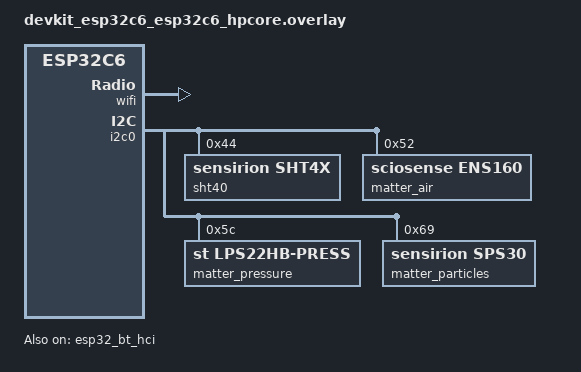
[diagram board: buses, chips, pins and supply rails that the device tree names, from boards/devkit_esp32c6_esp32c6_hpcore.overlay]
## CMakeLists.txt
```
# SPDX-License-Identifier: Apache-2.0
cmake_minimum_required(VERSION 3.20.0)

if(NOT CHIP_ROOT)
  message(FATAL_ERROR "Set CHIP_ROOT to the connectedhomeip checkout described in README.md")
endif()
list(APPEND EXTRA_ZEPHYR_MODULES "${CHIP_ROOT}/config/zephyr/chip-module")
# The generic Zephyr GN entry does not infer the C6 RISC-V architecture.
set(MATTER_GN_ARGS "--arg-string\ntarget_cpu\nriscv\n")
# Select the implementations required by this application's data model.
if(NOT DEFINED CHIP_GN_ZAP_FILE)
  set(CHIP_GN_ZAP_FILE "${CMAKE_CURRENT_SOURCE_DIR}/environment.zap")
endif()
# Bound the nested build on development hosts; users can override this cache entry.
set(MATTER_GN_BUILD_JOBS 4 CACHE STRING "Maximum concurrent Matter Ninja jobs")
# Local cold/configuration measurements favored direct GN compiler invocation.
# Keep the outer Zephyr launcher unchanged and allow hosts to opt back in.
set(MATTER_GN_USE_COMPILER_LAUNCHERS OFF CACHE BOOL "Use Zephyr compiler launchers in Matter GN")
find_package(Zephyr REQUIRED HINTS $ENV{ZEPHYR_BASE})
project(matter_temperature LANGUAGES C CXX)

target_sources(app PRIVATE
  src/main.cpp
  src/environment.cpp
  src/air_quality.c
  ${CHIP_ROOT}/examples/providers/DeviceInfoProviderImpl.cpp
)
target_include_directories(app PRIVATE ${CHIP_ROOT}/examples/providers)
target_link_libraries(app PRIVATE chip)
set(ENV{CHIP_ROOT} "${CHIP_ROOT}")
include(${CHIP_ROOT}/src/app/chip_data_model.cmake)
chip_configure_data_model(app
  ZAP_FILE "${CMAKE_CURRENT_SOURCE_DIR}/environment.zap"
)
```

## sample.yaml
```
sample:
  name: Experimental Matter environment sensor
  description: SHT40, ENS160, SPS30 and LPS22HB Matter-over-Wi-Fi prototype
common:
  tags:
    - sensor
    - matter
  platform_allow:
    - devkit_esp32c6/esp32c6/hpcore
  build_only: true
tests:
  sample.sensor.matter_temperature:
    # The Matter fork and pinned host ZAP/GN tools must be prepared first.
    # Build explicitly with build.sh; this is not part of the default matrix.
    skip: true
```

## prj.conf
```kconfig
CONFIG_CHIP=y
CONFIG_CHIP_WIFI=y
CONFIG_CHIP_ENABLE_PAIRING_AUTOSTART=y
CONFIG_CPP=y
CONFIG_STD_CPP17=y
CONFIG_REQUIRES_FULL_LIBCPP=y
CONFIG_PICOLIBC=y
CONFIG_NETWORKING=y
CONFIG_WIFI=y
CONFIG_NET_IPV6=y
CONFIG_NET_IPV4=y
CONFIG_NET_DHCPV4=y
CONFIG_BT=y
CONFIG_BT_PERIPHERAL=y
CONFIG_BT_DEVICE_NAME="FoBE Matter Temp"
CONFIG_PSA_CRYPTO=y
CONFIG_MBEDTLS=y
CONFIG_CHIP_CRYPTO_PSA=y
CONFIG_CHIP_CRYPTO_SPAKE2P_MBEDTLS=y
CONFIG_FLASH=y
CONFIG_FLASH_MAP=y
CONFIG_NVS=y
CONFIG_SETTINGS=y
CONFIG_SETTINGS_NVS=y
CONFIG_LOG=y
CONFIG_MAIN_STACK_SIZE=8192
CONFIG_HEAP_MEM_POOL_SIZE=65536
CONFIG_SENSOR=y
CONFIG_I2C=y
CONFIG_CHIP_EXAMPLE_DEVICE_INFO_PROVIDER=n
CONFIG_NET_STATISTICS=y
CONFIG_NET_STATISTICS_USER_API=y
CONFIG_CHIP_DEVICE_VENDOR_ID=65521
CONFIG_CHIP_DEVICE_PRODUCT_ID=32768
CONFIG_CHIP_DEVICE_PRODUCT_NAME="FoBE Matter Temperature"
CONFIG_CHIP_DEVICE_TYPE=770
CONFIG_CHIP_DEVICE_DISCRIMINATOR=0xF00
CONFIG_CHIP_DEVICE_SPAKE2_PASSCODE=20202021
CONFIG_CHIP_CRYPTO_PSA_AEAD_SINGLE_PART=y
CONFIG_NET_IPV6_MLD=y
CONFIG_NET_IF_MCAST_IPV6_ADDR_COUNT=12
CONFIG_NET_BUF_RX_COUNT=32
CONFIG_NET_BUF_TX_COUNT=32
CONFIG_NET_PKT_RX_COUNT=16
CONFIG_NET_PKT_TX_COUNT=16
CONFIG_BT_L2CAP_TX_MTU=247
CONFIG_BT_BUF_ACL_RX_SIZE=251
CONFIG_BT_BUF_ACL_TX_SIZE=251
CONFIG_BT_MAX_CONN=1
CONFIG_SYSTEM_WORKQUEUE_STACK_SIZE=4096
CONFIG_CHIP_TASK_STACK_SIZE=8192
CONFIG_CHIP_TASK_PRIORITY=5
CONFIG_MATTER_LOG_LEVEL=3
CONFIG_CHIP_ENABLE_WIFI_STATION=y
CONFIG_CHIP_DEVICE_VENDOR_NAME="FoBE"
# Matter's entropy initialization guard recognizes this hardware-backed path.
CONFIG_MBEDTLS_PSA_CRYPTO_LEGACY_RNG=y
CONFIG_MBEDTLS_PSA_DRIVER_GET_ENTROPY=y
CONFIG_PSA_WANT_KEY_TYPE_DERIVE=y
CONFIG_PSA_WANT_KEY_TYPE_HMAC=y
CONFIG_PSA_WANT_ALG_PBKDF2_HMAC=y
CONFIG_PSA_WANT_ALG_SHA_1=y
CONFIG_MBEDTLS_X509_CRT_PARSE_C=y
CONFIG_MBEDTLS_X509_CSR_WRITE_C=y
CONFIG_MBEDTLS_PK_WRITE_C=y
# Required by the generic Matter BLE and thread diagnostics adapters.
CONFIG_BT_GATT_DYNAMIC_DB=y
CONFIG_BT_DEVICE_NAME_DYNAMIC=y
CONFIG_THREAD_STACK_INFO=y
CONFIG_INIT_STACKS=y
# IPv4/IPv6 operational sockets, mDNS sockets and the Matter wake event.
CONFIG_ZVFS_POLL_MAX=16
CONFIG_NET_MAX_CONTEXTS=10
# Test DAC import and persistent operational key serialization/restoration.
CONFIG_PSA_WANT_KEY_TYPE_ECC_KEY_PAIR_IMPORT=y
CONFIG_PSA_WANT_KEY_TYPE_ECC_KEY_PAIR_EXPORT=y

# Matter commissioning messages need more than the default logging stack.
CONFIG_LOG_PROCESS_THREAD_STACK_SIZE=4096
# Matter GATT callbacks need additional receive-thread stack on ESP32-C6.
CONFIG_BT_RX_STACK_SIZE=4096
CONFIG_STACK_SENTINEL=y

# Retry transient AP association failures after restoring a paired device.
CONFIG_ESP32_WIFI_STA_RECONNECT=y

# The local adapter preserves ENS160 conditioning states.
CONFIG_ENS160=n
```

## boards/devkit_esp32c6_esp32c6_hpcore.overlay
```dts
&esp32_bt_hci { status = "okay"; };
&wifi { status = "okay"; };
&i2c0 {
    sht40: sht40@44 {
        compatible = "sensirion,sht4x";
        reg = <0x44>;
        repeatability = <2>;
    };
};

&i2c0 {
    matter_air: ens160@52 { compatible = "sciosense,ens160"; reg = <0x52>; };
    matter_pressure: lps22hb@5c { compatible = "st,lps22hb-press"; reg = <0x5c>; };
    matter_particles: sps30@69 { compatible = "sensirion,sps30"; reg = <0x69>; };
};
```

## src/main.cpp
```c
/* SPDX-License-Identifier: Apache-2.0 */

#include <cstdio>
#include "environment.h"

#include <zephyr/drivers/gpio.h>
#include <zephyr/kernel.h>
#include <zephyr/logging/log.h>

#include <DeviceInfoProviderImpl.h>
#include <app/clusters/network-commissioning/network-commissioning.h>
#include <app/server/CommissioningWindowManager.h>
#include <app/server/Server.h>
#include <credentials/DeviceAttestationCredsProvider.h>
#include <credentials/examples/DeviceAttestationCredsExample.h>
#include <data-model-providers/codegen/Instance.h>
#include <lib/support/CHIPMem.h>
#include <platform/CHIPDeviceLayer.h>
#include <platform/Zephyr/wifi/ZephyrWifiDriver.h>
#include <setup_payload/OnboardingCodesUtil.h>

LOG_MODULE_REGISTER(matter_temperature, LOG_LEVEL_INF);

namespace {
/* User-wired devkit_esp32c6 GP9 button, active low. */
const gpio_dt_spec pairing_button{DEVICE_DT_GET(DT_NODELABEL(gpio0)), 9,
	GPIO_ACTIVE_LOW | GPIO_PULL_UP};
K_SEM_DEFINE(server_ready, 0, 1);
CHIP_ERROR server_result = CHIP_ERROR_INCORRECT_STATE;
chip::CommonCaseDeviceServerInitParams server_params;
chip::app::Clusters::NetworkCommissioning::Instance network_commissioning(
	0, &chip::DeviceLayer::NetworkCommissioning::ZephyrWifiDriver::Instance());

void open_pairing_window(intptr_t)
{
	auto &window = chip::Server::GetInstance().GetCommissioningWindowManager();
	if (window.IsCommissioningWindowOpen()) {
		LOG_INF("Pairing window is already open");
		return;
	}
	CHIP_ERROR err = window.OpenBasicCommissioningWindow(chip::System::Clock::Seconds32(900));
	if (err != CHIP_NO_ERROR) {
		LOG_ERR("Cannot open pairing window: %" CHIP_ERROR_FORMAT, err.Format());
	} else {
		LOG_INF("Pairing window open for 15 minutes; code 34970112332");
	}
}

void init_server(intptr_t)
{
	using namespace chip;

	std::printf("MATTER: initializing server\n");
	Credentials::SetDeviceAttestationCredentialsProvider(
		Credentials::Examples::GetExampleDACProvider());
	server_result = server_params.InitializeStaticResourcesBeforeServerInit();
	if (server_result == CHIP_NO_ERROR) {
		auto &device_info = DeviceLayer::DeviceInfoProviderImpl::GetDefaultInstance();

		device_info.SetStorageDelegate(server_params.persistentStorageDelegate);
		DeviceLayer::SetDeviceInfoProvider(&device_info);
		server_params.dataModelProvider =
			app::CodegenDataModelProviderInstance(server_params.persistentStorageDelegate);
		server_result = Server::GetInstance().Init(server_params);
		std::printf("MATTER: Server::Init=%" CHIP_ERROR_FORMAT "\n", server_result.Format());
	}
	if (server_result == CHIP_NO_ERROR) {
		server_result = network_commissioning.Init();
		std::printf("MATTER: network commissioning=%" CHIP_ERROR_FORMAT "\n", server_result.Format());
	}
	if (server_result == CHIP_NO_ERROR) {
		server_result = environment_init();
	}
	if (server_result == CHIP_NO_ERROR) {
		std::printf("MATTER: environment clusters ready\n");
		PrintOnboardingCodes(RendezvousInformationFlags(RendezvousInformationFlag::kBLE));
		LOG_INF("Matter server ready; fabrics=%u", Server::GetInstance().GetFabricTable().FabricCount());
	}
	std::printf("MATTER: signaling main\n");
	k_sem_give(&server_ready);
}
} // namespace

int main(void)
{
	using namespace chip;

	std::printf("MATTER: starting platform\n");
	CHIP_ERROR err = Platform::MemoryInit();
	if (err == CHIP_NO_ERROR) {
		err = DeviceLayer::PlatformMgr().InitChipStack();
	}
	if (err == CHIP_NO_ERROR) {
		err = DeviceLayer::PlatformMgr().ScheduleWork(init_server);
	}
	if (err == CHIP_NO_ERROR) {
		err = DeviceLayer::PlatformMgr().StartEventLoopTask();
	}
	if (err != CHIP_NO_ERROR) {
		LOG_ERR("Matter startup failed: %" CHIP_ERROR_FORMAT, err.Format());
		return -EIO;
	}
	std::printf("MATTER: waiting for server\n");
	k_sem_take(&server_ready, K_FOREVER);
	std::printf("MATTER: server initialization returned\n");
	if (server_result != CHIP_NO_ERROR) {
		LOG_ERR("Matter server failed: %" CHIP_ERROR_FORMAT, server_result.Format());
		return -EIO;
	}

	bool button_ready = gpio_is_ready_dt(&pairing_button) &&
		gpio_pin_configure_dt(&pairing_button, GPIO_INPUT) == 0;
	if (!button_ready) {
		LOG_WRN("Pairing button unavailable");
	}
	int previous_button = 0;
	int64_t next_sample = 0;
	for (;;) {
		if (button_ready) {
			int pressed = gpio_pin_get_dt(&pairing_button);
			if (pressed == 1 && previous_button == 0) {
				k_msleep(30);
				if (gpio_pin_get_dt(&pairing_button) == 1) {
					err = DeviceLayer::PlatformMgr().ScheduleWork(open_pairing_window);
					if (err != CHIP_NO_ERROR) {
						LOG_ERR("Pairing request failed: %" CHIP_ERROR_FORMAT, err.Format());
					}
				}
			}
			if (pressed >= 0) {
				previous_button = pressed;
			}
		}
		if (k_uptime_get() >= next_sample) {
			environment_update();
			next_sample = k_uptime_get() + 5000;
		}
		k_sleep(K_MSEC(50));
	}
}
```

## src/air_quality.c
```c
/* Copyright (c) 2026 FoBE Studio
 * SPDX-License-Identifier: Apache-2.0
 */
#include "air_quality.h"
#include <zephyr/drivers/i2c.h>
#include <zephyr/kernel.h>
#include <zephyr/sys/byteorder.h>

/* Sample owns this device: CONFIG_ENS160 is disabled. Unlike the workspace
 * driver, preserve conditioning states instead of failing initialization.
 * Register contract: ScioSense ENS160 datasheet v1.3, sections 16.2.1-16.2.10.
 */
static const struct i2c_dt_spec bus = I2C_DT_SPEC_GET(DT_NODELABEL(matter_air));

int air_init(void)
{
	uint8_t id[2];
	int ret;

	if (!i2c_is_ready_dt(&bus)) {
		return -ENODEV;
	}
	ret = i2c_burst_read_dt(&bus, 0x00, id, sizeof(id));
	if (ret < 0) {
		return ret;
	}
	if (sys_get_le16(id) != 0x0160) {
		return -ENODEV;
	}
	ret = i2c_reg_write_byte_dt(&bus, 0x10, 0x01); /* Idle */
	if (ret < 0) {
		return ret;
	}
	k_msleep(10);
	ret = i2c_reg_write_byte_dt(&bus, 0x10, 0x02); /* Standard */
	k_msleep(10);
	return ret;
}

int air_compensate(const struct sensor_value *temperature, const struct sensor_value *humidity)
{
	int64_t temp = sensor_value_to_micro(temperature);
	int64_t rh = sensor_value_to_micro(humidity);
	uint8_t values[4];

	if (temp < -5000000 || temp > 60000000 || rh < 20000000 || rh > 80000000) {
		return -ERANGE;
	}
	sys_put_le16((temp + 273150000) * 64 / 1000000, values);
	sys_put_le16(rh * 512 / 1000000, values + 2);
	return i2c_burst_write_dt(&bus, 0x13, values, sizeof(values));
}

int air_read(struct air_reading *reading)
{
	uint8_t status;
	uint8_t values[5];
	int ret = i2c_reg_read_byte_dt(&bus, 0x20, &status);

	if (ret < 0) {
		return ret;
	}
	reading->validity = (status >> 2) & 3;
	if ((status & BIT(6)) || !(status & BIT(7))) {
		return -EIO;
	}
	if (reading->validity != 0) {
		return 0;
	}
	if (!(status & BIT(1))) {
		return -EAGAIN;
	}
	ret = i2c_burst_read_dt(&bus, 0x21, values, sizeof(values));
	if (ret < 0) {
		return ret;
	}
	reading->aqi = values[0] & 7;
	reading->tvoc = sys_get_le16(values + 1);
	reading->eco2 = sys_get_le16(values + 3);
	return reading->aqi >= 1 && reading->aqi <= 5 ? 0 : -EBADMSG;
}
```

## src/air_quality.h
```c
/* SPDX-License-Identifier: Apache-2.0 */
#ifndef MATTER_AIR_QUALITY_H_
#define MATTER_AIR_QUALITY_H_
#include <zephyr/drivers/sensor.h>

struct air_reading {
	uint16_t eco2;
	uint16_t tvoc;
	uint8_t aqi;
	uint8_t validity;
};

int air_init(void);
int air_compensate(const struct sensor_value *temperature, const struct sensor_value *humidity);
/* -EAGAIN means no new sample. Validity 1/2 means conditioning, 3 invalid. */
int air_read(struct air_reading *reading);
#endif
```

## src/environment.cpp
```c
/* Copyright (c) 2026 FoBE Studio
 * SPDX-License-Identifier: Apache-2.0
 */
#include "environment.h"
extern "C" {
#include "air_quality.h"
}
#include <cmath>
#include <cstdio>
#include <zephyr/kernel.h>
#include <zephyr/logging/log.h>
#include <app/clusters/air-quality-server/CodegenIntegration.h>
#include <app/clusters/concentration-measurement-server/CodegenIntegration.h>
#include <app/clusters/identify-server/CodegenIntegration.h>
#include <app/clusters/pressure-measurement-server/CodegenIntegration.h>
#include <app/clusters/relative-humidity-measurement-server/CodegenIntegration.h>
#include <app/clusters/temperature-measurement-server/CodegenIntegration.h>
#include <platform/CHIPDeviceLayer.h>

LOG_MODULE_REGISTER(environment, LOG_LEVEL_INF);

namespace {
using namespace chip;
using namespace chip::app;
using namespace chip::app::Clusters;
using DataModel::Nullable;
using Concentration = ConcentrationMeasurement::Instance<true, false, false, false, false, false>;
using Unit = ConcentrationMeasurement::MeasurementUnitEnum;
constexpr auto kAir = ConcentrationMeasurement::MeasurementMediumEnum::kAir;
constexpr EndpointId kTemperature = 1, kHumidity = 2, kAirQuality = 3, kPressure = 4;
const device *const sht40 = DEVICE_DT_GET(DT_NODELABEL(sht40));
const device *const pressure = DEVICE_DT_GET(DT_NODELABEL(matter_pressure));
const device *const particles = DEVICE_DT_GET(DT_NODELABEL(matter_particles));

/* This prototype has no physical identification indicator. */
::Identify identify_temperature(kTemperature, nullptr, nullptr, chip::app::Clusters::Identify::IdentifyTypeEnum::kNone);
::Identify identify_humidity(kHumidity, nullptr, nullptr, chip::app::Clusters::Identify::IdentifyTypeEnum::kNone);
::Identify identify_air(kAirQuality, nullptr, nullptr, chip::app::Clusters::Identify::IdentifyTypeEnum::kNone);
::Identify identify_pressure(kPressure, nullptr, nullptr, chip::app::Clusters::Identify::IdentifyTypeEnum::kNone);
AirQuality::Instance air_quality(kAirQuality, BitMask<AirQuality::Feature>(
	AirQuality::Feature::kFair, AirQuality::Feature::kModerate, AirQuality::Feature::kVeryPoor));
Concentration eco2(kAirQuality, CarbonDioxideConcentrationMeasurement::Id, kAir, Unit::kPpm);
Concentration tvoc(kAirQuality, TotalVolatileOrganicCompoundsConcentrationMeasurement::Id, kAir, Unit::kPpb);
Concentration pm1(kAirQuality, Pm1ConcentrationMeasurement::Id, kAir, Unit::kUgm3);
Concentration pm25(kAirQuality, Pm25ConcentrationMeasurement::Id, kAir, Unit::kUgm3);
Concentration pm10(kAirQuality, Pm10ConcentrationMeasurement::Id, kAir, Unit::kUgm3);
Concentration *const concentrations[] = {&eco2, &tvoc, &pm1, &pm25, &pm10};
constexpr sensor_channel pm_channels[] = {SENSOR_CHAN_PM_1_0, SENSOR_CHAN_PM_2_5, SENSOR_CHAN_PM_10};

int fetch(const device *dev)
{
	return device_is_ready(dev) ? sensor_sample_fetch(dev) : -ENODEV;
}

template <typename T>
Nullable<T> scaled(const device *dev, sensor_channel channel, int64_t divisor,
		   int64_t minimum, int64_t maximum)
{
	Nullable<T> result;
	sensor_value value;
	if (sensor_channel_get(dev, channel, &value) == 0) {
		int64_t micro = sensor_value_to_micro(&value);
		if (micro >= minimum * divisor && micro <= maximum * divisor) {
			result.SetNonNull(static_cast<T>(micro / divisor));
		}
	}
	return result;
}

void check(CHIP_ERROR err)
{
	if (err != CHIP_NO_ERROR) {
		LOG_ERR("Matter measurement update failed: %" CHIP_ERROR_FORMAT, err.Format());
	}
}
} // namespace

CHIP_ERROR environment_init()
{
	CHIP_ERROR err = TemperatureMeasurement::SetMeasuredValueRange(kTemperature,
		Nullable<int16_t>(-4000), Nullable<int16_t>(12500));
	if (err != CHIP_NO_ERROR) {
		return err;
	}
	err = air_quality.Init();
	if (err != CHIP_NO_ERROR) {
		return err;
	}
	for (auto *cluster : concentrations) {
		err = cluster->Init();
		if (err != CHIP_NO_ERROR) {
			return err;
		}
	}
	return CHIP_NO_ERROR;
}

void environment_update()
{
	Nullable<int16_t> temperature_value, pressure_value;
	Nullable<uint16_t> humidity_value;
	Nullable<float> values[5];
	AirQuality::AirQualityEnum quality = AirQuality::AirQualityEnum::kUnknown;
	static bool air_initialized;
	static air_reading last_air{};
	static int64_t last_air_time = -1;
	int sht_rc = fetch(sht40);
	int pressure_rc = fetch(pressure);
	int pm_rc = fetch(particles);

	if (sht_rc == 0) {
		temperature_value = scaled<int16_t>(sht40, SENSOR_CHAN_AMBIENT_TEMP, 10000, -4000, 12500);
		humidity_value = scaled<uint16_t>(sht40, SENSOR_CHAN_HUMIDITY, 10000, 0, 10000);
	}
	if (pressure_rc == 0) {
		/* Zephyr kPa -> Matter 0.1 kPa (hPa). */
		pressure_value = scaled<int16_t>(pressure, SENSOR_CHAN_PRESS, 100000, 260, 1260);
	}
	if (pm_rc == 0) {
		for (size_t i = 0; i < 3; ++i) {
			sensor_value value;
			if (sensor_channel_get(particles, pm_channels[i], &value) == 0) {
				float concentration = static_cast<float>(sensor_value_to_double(&value));
				if (std::isfinite(concentration) && concentration >= 0) {
					values[i + 2].SetNonNull(concentration);
				}
			}
		}
	}
	int air_rc = 0;
	if (!air_initialized) {
		air_rc = air_init();
		air_initialized = air_rc == 0;
	}
	if (air_initialized) {
		if (!temperature_value.IsNull() && !humidity_value.IsNull()) {
			sensor_value t, rh;
			if (sensor_channel_get(sht40, SENSOR_CHAN_AMBIENT_TEMP, &t) == 0 &&
			    sensor_channel_get(sht40, SENSOR_CHAN_HUMIDITY, &rh) == 0) {
				int rc = air_compensate(&t, &rh);
				if (rc != 0 && rc != -ERANGE) {
					LOG_WRN("ENS160 compensation failed: %d", rc);
				}
			}
		}
		air_reading reading{};
		air_rc = air_read(&reading);
		if (air_rc == 0 && reading.validity == 0) {
			last_air = reading;
			last_air_time = k_uptime_get();
		} else if (air_rc != -EAGAIN) {
			last_air_time = -1;
			if (air_rc != 0) {
				air_initialized = false;
			} else {
				LOG_INF("ENS160 conditioning/invalid state: %u", reading.validity);
			}
		}
	}
	/* No-new-data is transient; expire old readings after three sample periods. */
	if (last_air_time >= 0 && k_uptime_get() - last_air_time < 15000) {
		values[0].SetNonNull(last_air.eco2);
		values[1].SetNonNull(last_air.tvoc);
		quality = static_cast<AirQuality::AirQualityEnum>(last_air.aqi);
	}

	DeviceLayer::PlatformMgr().LockChipStack();
	check(TemperatureMeasurement::SetMeasuredValue(kTemperature, temperature_value));
	check(RelativeHumidityMeasurement::SetMeasuredValue(kHumidity, humidity_value));
	check(PressureMeasurement::SetMeasuredValue(kPressure, pressure_value));
	for (size_t i = 0; i < 5; ++i) {
		check(concentrations[i]->SetMeasuredValue(values[i]));
	}
	if (air_quality.UpdateAirQuality(quality) != Protocols::InteractionModel::Status::Success) {
		LOG_ERR("Matter air quality update failed");
	}
	DeviceLayer::PlatformMgr().UnlockChipStack();

	/* Integer diagnostics avoid requiring floating-point printf. -1 means unknown. */
	std::printf("Environment: T=%d centi-C RH=%d centi-%% P=%d hPa AQ=%u "
		    "eCO2=%d ppm TVOC=%d ppb PM1/2.5/10=%d/%d/%d milli-ug/m3\n",
		temperature_value.IsNull() ? -32768 : temperature_value.Value(),
		humidity_value.IsNull() ? -1 : humidity_value.Value(),
		pressure_value.IsNull() ? -1 : pressure_value.Value(), static_cast<unsigned>(quality),
		values[0].IsNull() ? -1 : static_cast<int>(values[0].Value()),
		values[1].IsNull() ? -1 : static_cast<int>(values[1].Value()),
		values[2].IsNull() ? -1 : static_cast<int>(values[2].Value() * 1000),
		values[3].IsNull() ? -1 : static_cast<int>(values[3].Value() * 1000),
		values[4].IsNull() ? -1 : static_cast<int>(values[4].Value() * 1000));
	if (sht_rc || pressure_rc || pm_rc || (air_rc && air_rc != -EAGAIN)) {
		LOG_WRN("Sensor status: SHT40=%d LPS22HB=%d SPS30=%d ENS160=%d",
			sht_rc, pressure_rc, pm_rc, air_rc);
	}
}
```

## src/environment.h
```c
/* SPDX-License-Identifier: Apache-2.0 */
#pragma once
#include <lib/core/CHIPError.h>

/* Called on the Matter thread after server initialization. */
CHIP_ERROR environment_init();
/* Called on the application thread; takes the Matter lock only to publish. */
void environment_update();
```
